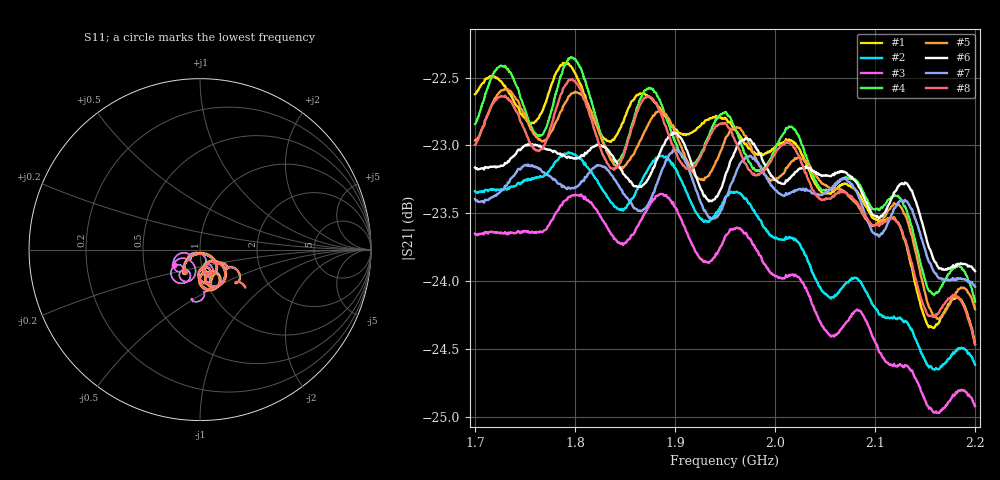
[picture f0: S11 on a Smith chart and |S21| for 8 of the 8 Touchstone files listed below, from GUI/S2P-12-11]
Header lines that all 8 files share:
# Hz S RI R 50
! CMT, CMT808U, 21440046, 21.4.3/4
! Data: Format (Calibration Info)
! Freq	S11:Re/Im(F2)	S41:Re/Im(F2)	S14:Re/Im(F2)	S44:Re/Im(F2)
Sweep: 1.7 GHz to 2.2 GHz
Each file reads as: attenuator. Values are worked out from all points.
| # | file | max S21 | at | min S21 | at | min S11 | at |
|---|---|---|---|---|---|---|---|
| 1 | Port1.s2p | -22.39 dB | 1.788 GHz | -24.5 dB | 2.2 GHz | -31.7 dB | 1.724 GHz |
| 2 | Port3.s2p | -23.05 dB | 1.794 GHz | -24.7 dB | 2.159 GHz | -34.1 dB | 1.981 GHz |
| 3 | Port4.s2p | -23.36 dB | 1.886 GHz | -25.0 dB | 2.164 GHz | -33.7 dB | 1.981 GHz |
| 4 | Port5.s2p | -22.35 dB | 1.796 GHz | -24.1 dB | 2.2 GHz | -31.5 dB | 1.724 GHz |
| 5 | Port9.s2p | -22.58 dB | 1.73 GHz | -24.3 dB | 2.164 GHz | -35.6 dB | 1.724 GHz |
| 6 | Port10.s2p | -22.90 dB | 1.898 GHz | -23.9 dB | 2.2 GHz | -31.8 dB | 1.724 GHz |
| 7 | Port11.s2p | -23.03 dB | 1.902 GHz | -24.0 dB | 2.2 GHz | -31.8 dB | 1.724 GHz |
| 8 | Port13.s2p | -22.51 dB | 1.796 GHz | -24.5 dB | 2.2 GHz | -31.5 dB | 1.724 GHz |
